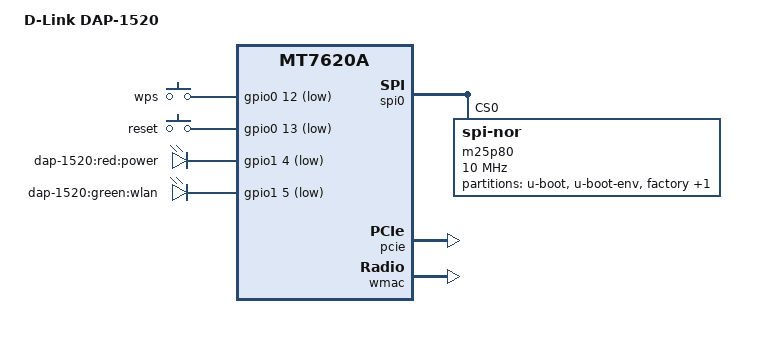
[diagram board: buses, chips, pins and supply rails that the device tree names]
/dts-v1/;

#include "mt7620a.dtsi"

#include <dt-bindings/input/input.h>

/ {
	compatible = "DAP-1520", "ralink,mt7620a-soc";
	model = "D-Link DAP-1520";

	gpio-keys-polled {
		compatible = "gpio-keys";
		#address-cells = <1>;
		#size-cells = <0>;
		poll-interval = <20>;

		wps {
			label = "wps";
			gpios = <&gpio0 12 1>;
			linux,code = <KEY_WPS_BUTTON>;
		};
		reset {
			label = "reset";
			gpios = <&gpio0 13 1>;
			linux,code = <KEY_RESTART>;
		};
	};

	gpio-leds {
		compatible = "gpio-leds";
		red {
			label = "dap-1520:red:power";
			gpios = <&gpio1 4 1>;
		};
		green {
			label = "dap-1520:green:wlan";
			gpios = <&gpio1 5 1>;
		};
	};
};

&gpio0 {
	status = "okay";
};

&gpio1 {
	status = "okay";
};

&spi0 {
	status = "okay";

	m25p80@0 {
		#address-cells = <1>;
		#size-cells = <1>;
		compatible = "jedec,spi-nor";
		reg = <0>;
		spi-max-frequency = <10000000>;

		partition@0 {
			label = "u-boot";
			reg = <0x0 0x30000>;
			read-only;
		};

		partition@30000 {
			label = "u-boot-env";
			reg = <0x30000 0x10000>;
			read-only;
		};

		factory: partition@40000 {
			label = "factory";
			reg = <0x40000 0x10000>;
			read-only;
		};

		partition@50000 {
			label = "firmware";
			reg = <0x50000 0x7b0000>;
		};
	};
};

&pinctrl {
	state_default: pinctrl0 {
		gpio {
			ralink,group = "i2c", "uartf", "rgmii1";
			ralink,function = "gpio";
		};
	};
};

&pcie {
	status = "okay";
};

&usbphy {
	status = "disabled";
};

&wmac {
	ralink,mtd-eeprom = <&factory 0>;
};
